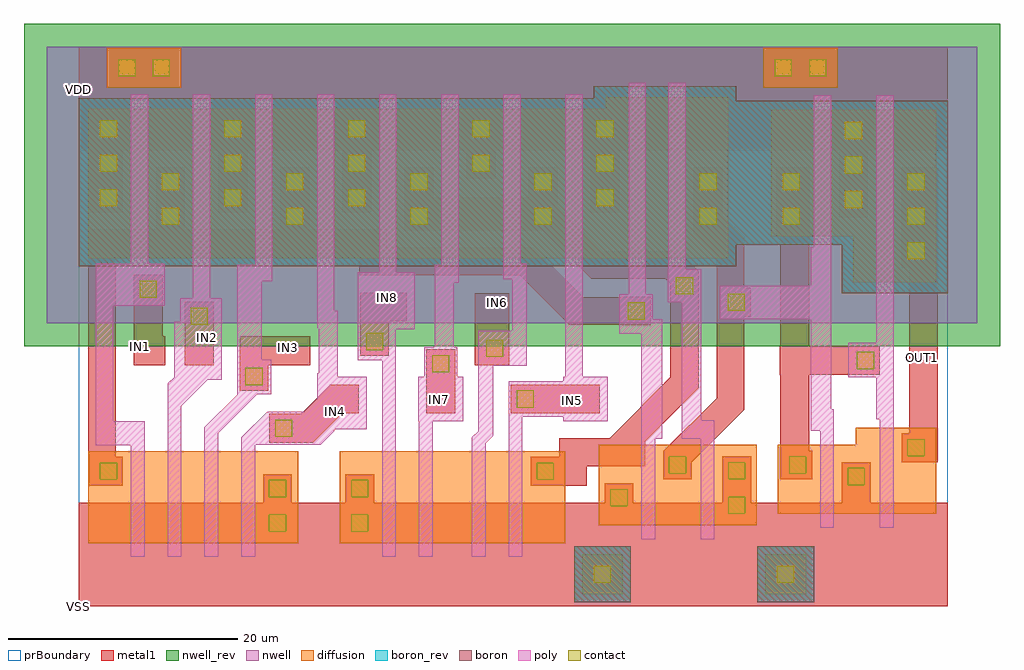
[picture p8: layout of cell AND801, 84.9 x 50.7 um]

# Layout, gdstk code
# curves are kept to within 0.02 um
import gdstk
lib = gdstk.Library(unit=1e-6, precision=1e-09)
def R(c, l, rs):  # rectangles x0, y0, x1, y1
    for r in rs: c.add(gdstk.rectangle(r[:2], r[2:], *l))
def A(c, l, x, y, w, h, nx, ny, dx, dy):  # array of equal rectangles
    R(c, l, [(x+i*dx, y+j*dy, x+i*dx+w, y+j*dy+h) for i in range(nx) for j in range(ny)])
def P(c, l, *ps):  # polygons
    for p in ps: c.add(gdstk.Polygon(p, *l))
nwell = (1, 0)
diffusion = (2, 0)
nwell_rev = (3, 0)
poly = (4, 0)
boron = (5, 0)
boron_rev = (6, 0)
contact = (7, 0)
metal1 = (8, 0)
prBoundary = (28, 0)

and801 = lib.new_cell('AND801')
R(and801, nwell, [(-2.75,24.65,78.15,48.7)])
R(and801, diffusion, [(43.8,1.05,47.35,4.55), (59.75,1.05,63.3,4.55), (0.85,5.5,19.1,13.5), (22.7,5.5,42.35,13.5), (45.25,7.05,59,14.05), (2.45,45.1,8.95,48.6), (59.55,45.1,66.05,48.6)])
P(and801, diffusion, [(60.8,8.05),(60.8,14.05),(67.6,14.05),(67.6,15.55),(74.6,15.55),(74.6,8.05)],
  [(0.85,30.3),(0.85,43.3),(45.85,43.3),(45.85,44.3),(56.5,44.3),(56.5,30.3)],
  [(67.4,28.2),(67.4,32.2),(60.25,32.2),(60.25,43.2),(74.6,43.2),(74.6,28.2)])
R(and801, nwell_rev, [(-4.75,22.65,80.15,50.7)])
R(and801, poly, [(42.15,16.1,46.05,20)])
P(and801, poly, [(14.15,4.3),(14.15,14.7),(16.4,16.95),(19.649,16.95),(20.75,18.051),(20.75,20.3),(20.9,20.3),(20.9,24.2),(20.75,24.2),(20.75,44.55),(22.25,44.55),(22.25,25.7),(22.55,25.7),(22.55,20),(25.05,20),(25.05,15.4),(22.25,15.4),(22.25,15.25),(21.05,14.05),(15.35,14.05),(15.35,4.3)],
  [(10.95,4.3),(10.95,15.576),(13.824,18.45),(13.8,18.45),(13.8,29.7),(15.35,29.7),(15.35,44.55),(16.85,44.55),(16.85,28.3),(15.95,28.3),(15.95,21.45),(16.75,21.45),(16.75,18.45),(15.522,18.45),(12.15,15.078),(12.15,4.3)],
  [(69.7,6.85),(69.7,16.3),(69.4,16.3),(69.4,19.95),(66.95,19.95),(66.95,22.95),(69.4,22.95),(69.4,44.45),(70.9,44.45),(70.9,6.85)],
  [(64.5,6.85),(64.5,15.3),(63.7,15.3),(63.7,25),(55.75,25),(55.75,27.9),(63.7,27.9),(63.7,31.25),(63.95,31.25),(63.95,44.45),(65.45,44.45),(65.45,17.15),(65.7,17.15),(65.7,6.85)],
  [(54.1,5.85),(54.1,14.6),(52.45,14.6),(52.45,26.45),(51.25,26.45),(51.25,29.35),(51.3,29.35),(51.3,45.55),(52.8,45.55),(52.8,29.35),(54.15,29.35),(54.15,16.2),(55.3,16.2),(55.3,5.85)],
  [(48.95,5.85),(48.95,23.7),(47.05,23.7),(47.05,27.15),(47.85,27.15),(47.85,45.55),(49.35,45.55),(49.35,27.15),(49.95,27.15),(49.95,25),(50.75,25),(50.75,14.6),(50.15,14.6),(50.15,5.85)],
  [(37.4,4.3),(37.4,19.6),(42.35,19.6),(42.35,44.55),(43.85,44.55),(43.85,19.3),(46.05,19.3),(46.05,16.5),(38.6,16.5),(38.6,4.3)],
  [(34.2,4.3),(34.2,14.7),(34.75,15.248),(34.75,24),(37.7,24),(37.7,28.45),(36.95,28.45),(36.95,44.55),(38.45,44.55),(38.45,29.8),(39,29.8),(39,20.95),(36.05,20.95),(36.05,14.85),(35.4,14.2),(35.4,4.3)],
  [(26.4,4.3),(26.4,21.4),(24.3,21.4),(24.3,29.05),(26.15,29.05),(26.15,44.55),(27.65,44.55),(27.65,29.05),(29.25,29.05),(29.25,24.1),(27.6,24.1),(27.6,4.3)],
  [(7.75,4.3),(7.75,19.4),(8.3,19.95),(8.3,24.75),(8.85,24.75),(8.85,26.8),(9.95,26.8),(9.95,44.55),(11.45,44.55),(11.45,26.8),(12.45,26.8),(12.45,19.7),(11.248,19.7),(8.95,17.402),(8.95,4.3)],
  [(4.55,4.3),(4.55,14),(1.5,14),(1.5,29.8),(4.55,29.8),(4.55,44.55),(6.05,44.55),(6.05,29.8),(7.5,29.8),(7.5,26.15),(3,26.15),(3,16.1),(5.75,16.1),(5.75,4.3)],
  [(29.6,4.3),(29.6,16.1),(29.55,16.1),(29.55,20),(30.05,20),(30.05,22.55),(31,22.55),(31,29.7),(31.55,29.7),(31.55,44.55),(33.05,44.55),(33.05,28.15),(32.65,28.15),(32.65,22.55),(32.95,22.55),(32.95,20),(33.45,20),(33.45,16.1),(30.8,16.1),(30.8,4.3)])
R(and801, boron, [(43.1,0.35,48.05,5.25), (59.05,0.35,64,5.25)])
P(and801, boron, [(66.4,27.25),(66.4,31.45),(57.2,31.45),(57.2,29.6),(0,29.6),(0,44.2),(44.8,44.2),(44.8,45.25),(57.2,45.25),(57.2,44),(75.6,44),(75.6,27.25)])
R(and801, boron_rev, [(43.1,0.35,48.05,5.25), (59.05,0.35,64,5.25)])
P(and801, boron_rev, [(66.4,27.25),(66.4,31.45),(57.2,31.45),(57.2,29.6),(0,29.6),(0,44.2),(44.8,44.2),(44.8,45.25),(57.2,45.25),(57.2,44),(75.6,44),(75.6,27.25)])
A(and801, contact, 72.1, 30.2, 1.5, 1.5, 1, 3, 0, 3)
A(and801, contact, 7.25, 33.2, 1.5, 1.5, 4, 2, 10.8, 3)
A(and801, contact, 66.65, 34.65, 1.5, 1.5, 1, 3, 0, 3)
A(and801, contact, 1.85, 34.8, 1.5, 1.5, 3, 1, 10.8, 0)
A(and801, contact, 1.85, 37.8, 1.5, 1.5, 5, 2, 10.8, 3)
R(and801, contact, [(44.8,2.05,46.3,3.55), (60.75,2.05,62.25,3.55), (16.55,6.5,18.05,8), (23.7,6.5,25.2,8), (56.5,8.05,58,9.55), (46.25,8.7,47.75,10.2), (16.55,9.5,18.05,11), (23.7,9.5,25.2,11), (66.9,10.55,68.4,12.05), (1.85,11,3.35,12.5), (39.85,11,41.35,12.5), (56.5,11.05,58,12.55), (51.35,11.55,52.85,13.05), (61.8,11.55,63.3,13.05), (72.1,13.05,73.6,14.55), (17.1,14.75,18.6,16.25), (38.1,17.3,39.6,18.8), (14.5,19.25,16,20.75), (30.75,20.35,32.25,21.85), (67.7,20.65,69.2,22.15), (35.45,21.7,36.95,23.2), (25,22.3,26.5,23.8), (9.75,24.5,11.25,26), (47.75,24.95,49.25,26.45), (56.45,25.7,57.95,27.2), (5.3,26.85,6.8,28.35), (51.95,27.15,53.45,28.65), (54,33.2,55.5,34.7), (61.25,33.2,62.75,34.7), (45.05,34.8,46.55,36.3), (54,36.2,55.5,37.7), (61.25,36.2,62.75,37.7), (3.45,46.1,4.95,47.6), (6.45,46.1,7.95,47.6), (60.55,46.1,62.05,47.6), (63.55,46.1,65.05,47.6)])
R(and801, metal1, [(0,0,75.6,9), (30.25,16.8,32.75,22.35), (37.6,16.8,45.35,19.3), (9.25,21,11.75,26.5), (34.45,21,37.45,27.25), (72.25,21,74.75,23.5), (0,39.7,75.6,48.7)])
P(and801, metal1, [(61.05,11.05),(61.05,20.15),(61,20.15),(61,22.65),(61.05,22.65),(61.05,32.3),(60.7,32.3),(60.7,38.2),(63.55,38.2),(63.55,22.65),(69.7,22.65),(69.7,20.15),(63.55,20.15),(63.55,13.55),(63.8,13.55),(63.8,11.05)],
  [(66.15,33.85),(66.15,39.7),(47.05,39.7),(47.05,34.3),(44.55,34.3),(44.55,39.7),(36.3,39.7),(36.3,37.25),(33.75,37.25),(33.75,39.7),(25.45,39.7),(25.45,34.3),(22.95,34.3),(22.95,39.7),(14.65,39.7),(14.65,34.3),(12.15,34.3),(12.15,39.7),(3.85,39.7),(3.85,34.3),(0.85,34.3),(0.85,39.7),(0,39.7),(0,48.7),(75.6,48.7),(75.6,39.7),(68.65,39.7),(68.65,33.85)],
  [(0,0),(0,9),(16.05,9),(16.05,11.5),(18.55,11.5),(18.55,9),(23.2,9),(23.2,11.5),(25.7,11.5),(25.7,9),(45.75,9),(45.75,10.7),(48.25,10.7),(48.25,9),(56,9),(56,13.05),(58.5,13.05),(58.5,9),(66.4,9),(66.4,12.55),(68.9,12.55),(68.9,9),(75.6,9),(75.6,0)],
  [(71.6,12.55),(71.6,15.05),(72.25,15.05),(72.25,29.45),(71.6,29.45),(71.6,38.2),(74.75,38.2),(74.75,12.55)],
  [(39.35,10.5),(39.35,13),(41.8,13),(41.8,14.65),(46.182,14.65),(51.45,19.918),(51.45,28.1),(51.05,28.5),(44.6,28.5),(40.4,32.7),(28.35,32.7),(28.35,38.2),(30.85,38.2),(30.85,35.55),(39.15,35.55),(39.15,38.2),(41.65,38.2),(41.65,34.856),(45.606,30.9),(52.186,30.9),(53.95,29.15),(53.95,19),(49.3,14.35),(49.3,12.2),(44.2,12.2),(44.2,10.5)],
  [(0.85,10.5),(0.85,32.8),(6.75,32.8),(6.75,38.2),(9.25,38.2),(9.25,32.8),(17.55,32.8),(17.55,38.2),(20.05,38.2),(20.05,32.8),(26.85,32.8),(26.85,31.2),(39.594,31.2),(43.894,26.9),(47.25,26.9),(47.25,26.95),(49.75,26.95),(49.75,24.45),(47.25,24.45),(47.25,24.5),(42.693,24.5),(38.393,28.8),(24.4,28.8),(24.4,30.4),(3.25,30.4),(3.25,13),(3.85,13),(3.85,10.5)],
  [(24.5,21.8),(24.5,27.3),(28.55,27.3),(28.55,24.8),(27,24.8),(27,21.8)],
  [(16.6,14.25),(16.6,16.75),(19.35,16.75),(21.85,19.25),(21.85,19.3),(24.35,19.3),(24.35,16.8),(22.936,16.8),(20.386,14.25)],
  [(14,18.75),(14,23.5),(20.15,23.5),(20.15,21),(16.5,21),(16.5,18.75)],
  [(4.8,21),(4.8,28.85),(7.3,28.85),(7.3,23.5),(7.55,23.5),(7.55,21)],
  [(50.85,11.05),(50.85,13.55),(50.92,13.55),(55.5,18.13),(55.5,30.45),(53.5,32.45),(53.5,38.2),(56,38.2),(56,34.044),(57.9,32.144),(57.9,27.7),(58.45,27.7),(58.45,25.2),(57.9,25.2),(57.9,17.1),(53.35,12.55),(53.35,11.05)])
R(and801, prBoundary, [(0,0,75.6,48.7)])
and801.add(gdstk.Label('VSS', (0.001,0.001), layer=8, texttype=7))
and801.add(gdstk.Label('VDD', (0.002,45), layer=8, texttype=7))
and801.add(gdstk.Label('IN3', (18.287,22.533), layer=8, texttype=7))
and801.add(gdstk.Label('IN8', (26.886,26.836), layer=8, texttype=7))
and801.add(gdstk.Label('IN4', (22.324,16.954), layer=8, texttype=7))
and801.add(gdstk.Label('IN5', (42.944,17.944), layer=8, texttype=7))
and801.add(gdstk.Label('IN1', (5.408,22.636), layer=8, texttype=7))
and801.add(gdstk.Label('IN2', (11.204,23.372), layer=8, texttype=7))
and801.add(gdstk.Label('IN7', (31.352,18.036), layer=8, texttype=7))
and801.add(gdstk.Label('IN6', (36.412,26.408), layer=8, texttype=7))
and801.add(gdstk.Label('OUT1', (73.396,21.624), layer=8, texttype=7))

lib.write_gds('AND801.gds')
